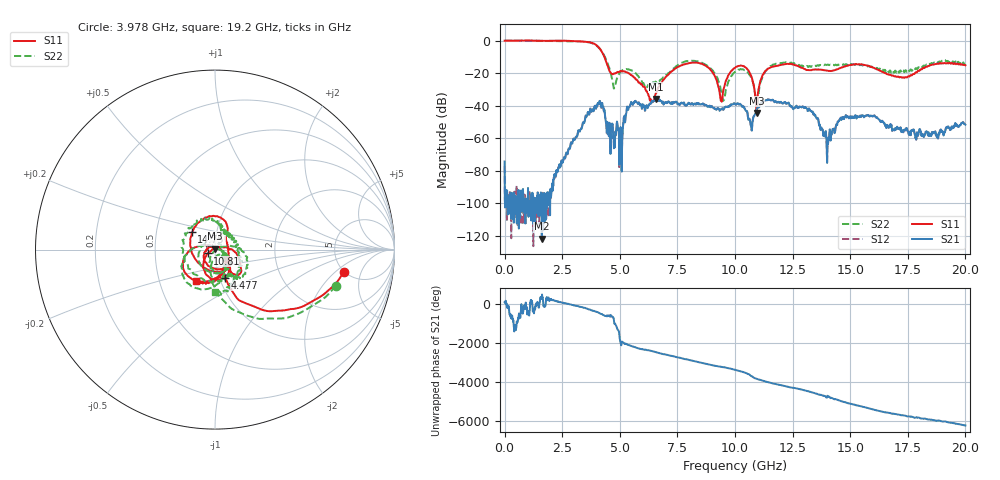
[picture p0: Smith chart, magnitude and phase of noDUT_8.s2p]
#  HZ  S  RI  R  50.00
! Rohde & Schwarz Vector Network Analyzer
! Rohde-Schwarz,ZNB20-2Port,1311601062102128,3.60
! Created: UTC 4/29/2024, 2:42:14 PM
! freq[Hz]  re:S11  im:S11  re:S21  im:S21  re:S12  im:S12  re:S22  im:S22
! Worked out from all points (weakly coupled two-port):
!   2007 points, 100 kHz to 20 GHz, reference 50 ohm
!   highest |S21| = -35.78 dB at 6.58 GHz (marker M1); lowest = -121.7 dB at 1.615 GHz (marker M2)
!   lowest |S11| = -44.4 dB at 10.94 GHz (marker M3), VSWR 1.01, Z = 49.8 + j0.585 ohm
!   |S11| at or under -10 dB: 4.332 GHz to end of sweep
!   |S22| runs from -44.2 to 0.1 dB; largest |S21 - S12| = 0.00088
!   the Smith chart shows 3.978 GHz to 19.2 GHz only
!   S11 on the Smith chart (normalised r, x): 3.978 GHz: 4.89, -2.63; 4.477 GHz: 1.07, -0.34; 10.81 GHz: 0.92, -0.04; 14.75 GHz: 0.76, +0.15; 19.2 GHz: 0.76, -0.28
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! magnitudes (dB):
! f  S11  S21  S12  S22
! 100 kHz  0.0  -74.2  -77.0  0.1
! 1.615 GHz  -0.1  -121.7  -101.5  -0.2
! 3.34 GHz  -0.6  -54.2  -53.8  -0.6
! 3.978 GHz  -2.8  -40.8  -41.0  -3.1
! 4.477 GHz  -15.6  -55.0  -54.8  -14.0
! 4.746 GHz  -20.3  -66.1  -65.6  -29.4
! 5.025 GHz  -18.7  -53.9  -53.9  -19.2
! 5.414 GHz  -20.2  -40.7  -40.8  -17.7
! 6.58 GHz  -32.1  -35.8  -35.8  -25.5
! 6.67 GHz  -28.7  -36.7  -36.7  -24.9
! 8.365 GHz  -13.6  -38.5  -38.5  -12.8
! 9.412 GHz  -37.3  -42.1  -42.0  -31.8
! 10 GHz  -16.7  -38.8  -38.8  -19.3
! 10.81 GHz  -26.9  -46.6  -46.6  -27.1
! 10.94 GHz  -44.4  -42.2  -42.1  -43.1
! 11.6 GHz  -16.2  -36.4  -36.5  -15.4
! 13.34 GHz  -18.1  -43.7  -43.7  -15.6
! 13.99 GHz  -18.4  -69.6  -69.7  -15.0
! 14.75 GHz  -15.9  -47.4  -47.5  -15.0
! 16.67 GHz  -20.9  -53.5  -53.6  -19.5
! 19.2 GHz  -13.8  -53.3  -53.3  -12.6
! 20 GHz  -15.2  -51.7  -51.8  -14.2
